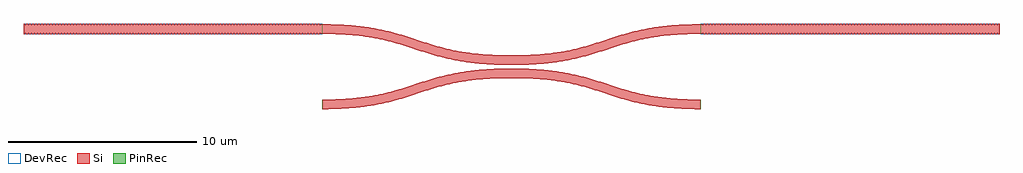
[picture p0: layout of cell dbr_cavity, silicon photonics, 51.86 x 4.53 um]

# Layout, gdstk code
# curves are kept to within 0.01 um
from math import pi, radians
import gdstk
lib = gdstk.Library(unit=1e-6, precision=1e-09)
def R(c, l, rs):  # rectangles x0, y0, x1, y1
    for r in rs: c.add(gdstk.rectangle(r[:2], r[2:], *l))
def P(c, l, *ps):  # polygons
    for p in ps: c.add(gdstk.Polygon(p, *l))
Si = (1, 0)
PinRec = (1, 10)
DevRec = (68, 0)

coupler_db79951f = lib.new_cell('coupler_db79951f')
R(coupler_db79951f, Si, [(0,-0.25,0.1,0.25), (0,0.45,0.1,0.95)])
P(coupler_db79951f, Si, [(0,0.25),(-0.595,0.242),(-1.404,0.201),(-2.123,0.131),(-2.665,0.052),(-3.35,-0.083),(-3.967,-0.24),(-5.927,-0.859),(-6.5,-1.017),(-7.033,-1.138),(-7.724,-1.256),(-8.392,-1.333),(-9.281,-1.388),(-10,-1.4),(-10,-1.9),(-9.405,-1.892),(-8.596,-1.851),(-7.877,-1.781),(-7.335,-1.702),(-6.65,-1.567),(-6.033,-1.41),(-4.073,-0.791),(-3.5,-0.633),(-2.967,-0.512),(-2.276,-0.394),(-1.608,-0.317),(-0.719,-0.262),(0,-0.25)],
  [(0,0.45),(-0.595,0.458),(-1.404,0.499),(-2.123,0.569),(-2.665,0.648),(-3.35,0.783),(-3.967,0.94),(-5.927,1.559),(-6.5,1.717),(-7.033,1.838),(-7.724,1.956),(-8.392,2.033),(-9.281,2.088),(-10,2.1),(-10,2.6),(-9.405,2.592),(-8.596,2.551),(-7.877,2.481),(-7.335,2.402),(-6.65,2.267),(-6.033,2.11),(-4.073,1.491),(-3.5,1.333),(-2.967,1.212),(-2.276,1.094),(-1.608,1.017),(-0.719,0.962),(0,0.95)],
  [(0.1,0.45),(0.695,0.458),(1.504,0.499),(2.223,0.569),(2.765,0.648),(3.45,0.783),(4.067,0.94),(6.027,1.559),(6.6,1.717),(7.133,1.838),(7.824,1.956),(8.492,2.033),(9.381,2.088),(10.1,2.1),(10.1,2.6),(9.505,2.592),(8.696,2.551),(7.977,2.481),(7.435,2.402),(6.75,2.267),(6.133,2.11),(4.173,1.491),(3.6,1.333),(3.067,1.212),(2.376,1.094),(1.708,1.017),(0.819,0.962),(0.1,0.95)],
  [(0.1,0.25),(0.695,0.242),(1.504,0.201),(2.223,0.131),(2.765,0.052),(3.45,-0.083),(4.067,-0.24),(6.027,-0.859),(6.6,-1.017),(7.133,-1.138),(7.824,-1.256),(8.492,-1.333),(9.381,-1.388),(10.1,-1.4),(10.1,-1.9),(9.505,-1.892),(8.696,-1.851),(7.977,-1.781),(7.435,-1.702),(6.75,-1.567),(6.133,-1.41),(4.173,-0.791),(3.6,-0.633),(3.067,-0.512),(2.376,-0.394),(1.708,-0.317),(0.819,-0.262),(0.1,-0.25)])
R(coupler_db79951f, DevRec, [(0,-0.25,0.1,0.25), (0,0.45,0.1,0.95)])
P(coupler_db79951f, DevRec, [(0,0.25),(-0.595,0.242),(-1.404,0.201),(-2.123,0.131),(-2.665,0.052),(-3.35,-0.083),(-3.967,-0.24),(-5.927,-0.859),(-6.5,-1.017),(-7.033,-1.138),(-7.724,-1.256),(-8.392,-1.333),(-9.281,-1.388),(-10,-1.4),(-10,-1.9),(-9.405,-1.892),(-8.596,-1.851),(-7.877,-1.781),(-7.335,-1.702),(-6.65,-1.567),(-6.033,-1.41),(-4.073,-0.791),(-3.5,-0.633),(-2.967,-0.512),(-2.276,-0.394),(-1.608,-0.317),(-0.719,-0.262),(0,-0.25)],
  [(0,0.45),(-0.595,0.458),(-1.404,0.499),(-2.123,0.569),(-2.665,0.648),(-3.35,0.783),(-3.967,0.94),(-5.927,1.559),(-6.5,1.717),(-7.033,1.838),(-7.724,1.956),(-8.392,2.033),(-9.281,2.088),(-10,2.1),(-10,2.6),(-9.405,2.592),(-8.596,2.551),(-7.877,2.481),(-7.335,2.402),(-6.65,2.267),(-6.033,2.11),(-4.073,1.491),(-3.5,1.333),(-2.967,1.212),(-2.276,1.094),(-1.608,1.017),(-0.719,0.962),(0,0.95)],
  [(0.1,0.45),(0.695,0.458),(1.504,0.499),(2.223,0.569),(2.765,0.648),(3.45,0.783),(4.067,0.94),(6.027,1.559),(6.6,1.717),(7.133,1.838),(7.824,1.956),(8.492,2.033),(9.381,2.088),(10.1,2.1),(10.1,2.6),(9.505,2.592),(8.696,2.551),(7.977,2.481),(7.435,2.402),(6.75,2.267),(6.133,2.11),(4.173,1.491),(3.6,1.333),(3.067,1.212),(2.376,1.094),(1.708,1.017),(0.819,0.962),(0.1,0.95)],
  [(0.1,0.25),(0.695,0.242),(1.504,0.201),(2.223,0.131),(2.765,0.052),(3.45,-0.083),(4.067,-0.24),(6.027,-0.859),(6.6,-1.017),(7.133,-1.138),(7.824,-1.256),(8.492,-1.333),(9.381,-1.388),(10.1,-1.4),(10.1,-1.9),(9.505,-1.892),(8.696,-1.851),(7.977,-1.781),(7.435,-1.702),(6.75,-1.567),(6.133,-1.41),(4.173,-0.791),(3.6,-0.633),(3.067,-0.512),(2.376,-0.394),(1.708,-0.317),(0.819,-0.262),(0.1,-0.25)])
coupler_db79951f.add(gdstk.FlexPath([(-9.995,-1.65),(-10.005,-1.65)], 0.5, ends="flush", simple_path=True, layer=1, datatype=10))  # PinRec
coupler_db79951f.add(gdstk.FlexPath([(-9.995,2.35),(-10.005,2.35)], 0.5, ends="flush", simple_path=True, layer=1, datatype=10))  # PinRec
coupler_db79951f.add(gdstk.FlexPath([(10.095,2.35),(10.105,2.35)], 0.5, ends="flush", simple_path=True, layer=1, datatype=10))  # PinRec
coupler_db79951f.add(gdstk.FlexPath([(10.095,-1.65),(10.105,-1.65)], 0.5, ends="flush", simple_path=True, layer=1, datatype=10))  # PinRec
coupler_db79951f.add(gdstk.Label('o1', (-10,-1.65), layer=1, texttype=10))
coupler_db79951f.add(gdstk.Label('o2', (-10,2.35), layer=1, texttype=10))
coupler_db79951f.add(gdstk.Label('o3', (10.1,2.35), layer=1, texttype=10))
coupler_db79951f.add(gdstk.Label('o4', (10.1,-1.65), layer=1, texttype=10))

straight_b8cc936d = lib.new_cell('straight_b8cc936d')
R(straight_b8cc936d, Si, [(0,-0.25,0.079,0.25)])

straight_277d89b6 = lib.new_cell('straight_277d89b6')
R(straight_277d89b6, Si, [(0,-0.225,0.079,0.225)])

straight_c3b1f874 = lib.new_cell('straight_c3b1f874')
R(straight_c3b1f874, Si, [(0,-0.275,0.079,0.275)])

dbr_cell_596eb387 = lib.new_cell('dbr_cell_596eb387')
dbr_cell_596eb387.add(gdstk.Reference(straight_277d89b6, (0,0)))
dbr_cell_596eb387.add(gdstk.Reference(straight_c3b1f874, (0.079,0)))

dbr_fd343102 = lib.new_cell('dbr_fd343102')
r = gdstk.Reference(dbr_cell_596eb387, (0,0)); r.repetition = gdstk.Repetition(100, 1, v1=(0.158,0), v2=(0,100)); dbr_fd343102.add(r)

dbr = lib.new_cell('dbr')
R(dbr, DevRec, [(-0.079,-0.275,15.8,0.275)])
dbr.add(gdstk.FlexPath([(-0.074,0),(-0.084,0)], 0.5, ends="flush", simple_path=True, layer=1, datatype=10))  # PinRec
dbr.add(gdstk.Reference(straight_b8cc936d, (-0.079,0)))
dbr.add(gdstk.Reference(dbr_fd343102, (0,0)))
dbr.add(gdstk.Label('o1', (-0.079,0), layer=1, texttype=10))

dbr_cavity = lib.new_cell('dbr_cavity')
dbr_cavity.add(gdstk.Reference(coupler_db79951f, (0,0)))
dbr_cavity.add(gdstk.Reference(dbr, (-10.079,2.35), rotation=pi))
dbr_cavity.add(gdstk.Reference(dbr, (10.179,2.35)))

lib.write_gds('dbr_cavity.gds')
